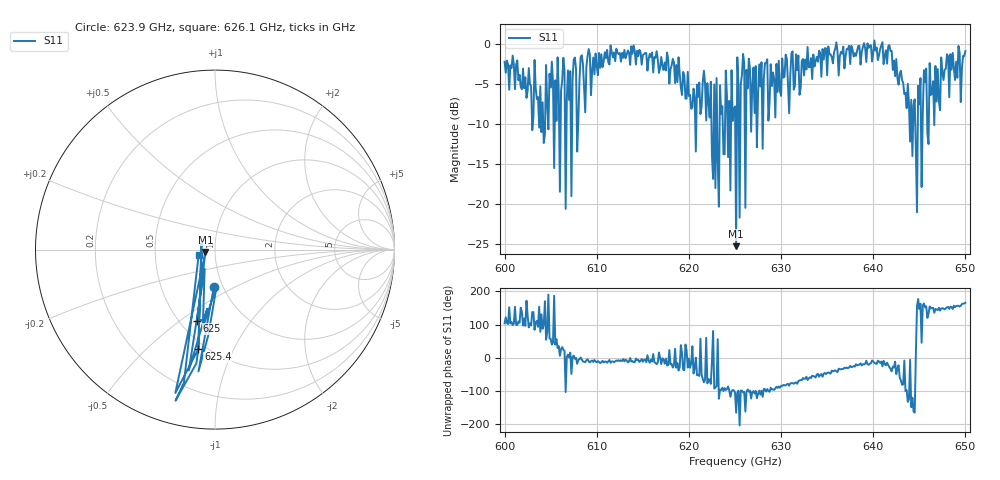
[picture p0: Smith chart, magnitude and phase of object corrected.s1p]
!Created with skrf (http://scikit-rf.org).
# GHz S MA R 50.0
!freq magS11 angS11
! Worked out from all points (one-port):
!   401 points, 600 GHz to 650 GHz, reference 50 ohm
!   lowest |S11| = -25.2 dB at 625.1 GHz (marker M1), VSWR 1.12, Z = 44.9 - j1.19 ohm
!   |S11| at or under -10 dB: 604.1926 GHz to 604.3929 GHz (200.3 MHz wide, 0.0331 % of centre); 622.4466 GHz to 622.6972 GHz (250.6 MHz wide, 0.0403 % of centre); 623.0694 GHz to 623.3348 GHz (265.4 MHz wide, 0.0426 % of centre)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
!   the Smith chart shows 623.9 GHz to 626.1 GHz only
!   S11 on the Smith chart (normalised r, x): 623.9 GHz: 0.91, -0.39; 625 GHz: 0.61, -0.58; 625.4 GHz: 0.46, -0.74; 626.1 GHz: 0.83, -0.05
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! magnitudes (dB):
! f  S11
! 600 GHz  -2.2
! 603.4 GHz  -5.5
! 604.1 GHz  -7.3
! 605 GHz  -5.4
! 606.2 GHz  -4.5
! 606.9 GHz  -3.3
! 608.4 GHz  -1.4
! 612.5 GHz  -1.1
! 618.8 GHz  -4.7
! 620.5 GHz  -5.5
! 621.8 GHz  -4.9
! 623 GHz  -4.2
! 623.9 GHz  -13.7
! 625 GHz  -7.8
! 625.1 GHz  -25.2
! 625.4 GHz  -5.0
! 625.5 GHz  -21.7
! 626.1 GHz  -20.4
! 631.2 GHz  -0.9
! 637.5 GHz  -2.5
! 641.8 GHz  -0.1
! 643.8 GHz  -4.9
! 644.4 GHz  -7.6
! 644.5 GHz  -6.9
! 645.6 GHz  -4.7
! 646.1 GHz  -2.4
! 647.9 GHz  -3.1
! 650 GHz  -0.9
